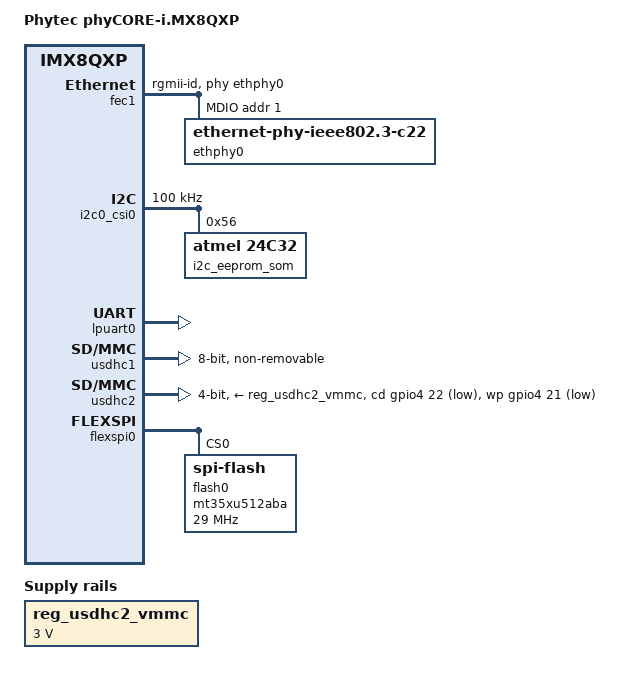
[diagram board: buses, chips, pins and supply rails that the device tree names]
// SPDX-License-Identifier: GPL-2.0+
/*
 * Copyright (C) 2021 PHYTEC America, LLC
 *
 * This program is free software; you can redistribute it and/or modify
 * it under the terms of the GNU General Public License version 2 as
 * published by the Free Software Foundation.
 */

/dts-v1/;

#include "fsl-imx8qxp.dtsi"
#include <dt-bindings/net/ti-dp83867.h>

/ {
	model = "Phytec phyCORE-i.MX8QXP";
	compatible = "phytec,imx8qxp-pcm065", "fsl,imx8qxp";

	aliases {
		i2c9 = &i2c0_csi0;
	};

	chosen {
		bootargs = "console=ttyLP0,115200 earlycon";
		stdout-path = &lpuart0;
	};

	regulators {
		compatible = "simple-bus";
		#address-cells = <1>;
		#size-cells = <0>;

		reg_usdhc2_vmmc: usdhc2_vmmc {
			compatible = "regulator-fixed";
			regulator-name = "SD1_SPWR";
			regulator-min-microvolt = <3000000>;
			regulator-max-microvolt = <3000000>;
	//		gpio = <&gpio4 19 GPIO_ACTIVE_HIGH>;
			enable-active-high;
			off-on-delay-us = <3480>;
		};
	};
};

&fec1 {
	pinctrl-names = "default";
	pinctrl-0 = <&pinctrl_fec1>;
	phy-mode = "rgmii-id";
	phy-handle = <&ethphy0>;
	fsl,magic-packet;
	status = "okay";

	mdio: mdio {
		#address-cells = <1>;
		#size-cells = <0>;

		ethphy0: ethernet-phy@1 {
			compatible = "ethernet-phy-ieee802.3-c22";
			reg = <1>;
			ti,rx-internal-delay = <DP83867_RGMIIDCTL_2_00_NS>;
			ti,tx-internal-delay = <DP83867_RGMIIDCTL_2_00_NS>;
			ti,fifo-depth = <DP83867_PHYCR_FIFO_DEPTH_8_B_NIB>;
			ti,led-0-active-low;
			ti,led-2-active-low;
			enet-phy-lane-no-swap;
		};
	};
};

&i2c0_csi0 {
	#address-cells = <1>;
	#size-cells = <0>;
	clock-frequency = <100000>;
	pinctrl-names = "default";
	pinctrl-0 = <&pinctrl_i2c0_csi0>;
	status = "okay";

	i2c_eeprom_som: eeprom@56 {
		compatible = "atmel,24c32";
		pagesize = <32>;
		reg = <0x56>;
		status = "okay";
	};
};

&iomuxc {
	imx8qxp-pcm065 {

		pinctrl_fec1: fec1grp {
			fsl,pins = <
				SC_P_ENET0_MDC_CONN_ENET0_MDC                   0x06000020
				SC_P_ENET0_MDIO_CONN_ENET0_MDIO                 0x06000020
				SC_P_ENET0_RGMII_TX_CTL_CONN_ENET0_RGMII_TX_CTL 0x06000021
				SC_P_ENET0_RGMII_TXC_CONN_ENET0_RGMII_TXC       0x06000021
				SC_P_ENET0_RGMII_TXD0_CONN_ENET0_RGMII_TXD0     0x06000021
				SC_P_ENET0_RGMII_TXD1_CONN_ENET0_RGMII_TXD1     0x06000021
				SC_P_ENET0_RGMII_TXD2_CONN_ENET0_RGMII_TXD2     0x06000021
				SC_P_ENET0_RGMII_TXD3_CONN_ENET0_RGMII_TXD3     0x06000021
				SC_P_ENET0_RGMII_RXC_CONN_ENET0_RGMII_RXC       0x06000021
				SC_P_ENET0_RGMII_RX_CTL_CONN_ENET0_RGMII_RX_CTL 0x06000021
				SC_P_ENET0_RGMII_RXD0_CONN_ENET0_RGMII_RXD0     0x06000061
				SC_P_ENET0_RGMII_RXD1_CONN_ENET0_RGMII_RXD1     0x06000061
				SC_P_ENET0_RGMII_RXD2_CONN_ENET0_RGMII_RXD2     0x06000061
				SC_P_ENET0_RGMII_RXD3_CONN_ENET0_RGMII_RXD3     0x06000061
			>;
		};

		pinctrl_i2c0_csi0: i2c0csi0grp {
			fsl,pins = <
				SC_P_MIPI_CSI0_I2C0_SCL_MIPI_CSI0_I2C0_SCL 0x06000020
				SC_P_MIPI_CSI0_I2C0_SDA_MIPI_CSI0_I2C0_SDA 0x06000020
			>;
		};

		pinctrl_lpuart0: lpuart0grp {
			fsl,pins = <
				SC_P_UART0_RX_ADMA_UART0_RX	0x06000020
				SC_P_UART0_TX_ADMA_UART0_TX	0x06000020
			>;
		};

		pinctrl_usdhc1: usdhc1grp {
			fsl,pins = <
				SC_P_EMMC0_CLK_CONN_EMMC0_CLK		0x06000041
				SC_P_EMMC0_CMD_CONN_EMMC0_CMD		0x00000021
				SC_P_EMMC0_DATA0_CONN_EMMC0_DATA0	0x00000021
				SC_P_EMMC0_DATA1_CONN_EMMC0_DATA1	0x00000021
				SC_P_EMMC0_DATA2_CONN_EMMC0_DATA2	0x00000021
				SC_P_EMMC0_DATA3_CONN_EMMC0_DATA3	0x00000021
				SC_P_EMMC0_DATA4_CONN_EMMC0_DATA4	0x00000021
				SC_P_EMMC0_DATA5_CONN_EMMC0_DATA5	0x00000021
				SC_P_EMMC0_DATA6_CONN_EMMC0_DATA6	0x00000021
				SC_P_EMMC0_DATA7_CONN_EMMC0_DATA7	0x00000021
				SC_P_EMMC0_STROBE_CONN_EMMC0_STROBE	0x06000041
				SC_P_EMMC0_RESET_B_CONN_EMMC0_RESET_B	0x00000021
			>;
		};

		pinctrl_usdhc2_gpio: usdhc2gpiogrp {
			fsl,pins = <
				SC_P_USDHC1_RESET_B_LSIO_GPIO4_IO19	0x00000021
				SC_P_USDHC1_WP_LSIO_GPIO4_IO21		0x00000021
				SC_P_USDHC1_CD_B_LSIO_GPIO4_IO22	0x00000021
			>;
		};

		pinctrl_usdhc2: usdhc2grp {
			fsl,pins = <
				SC_P_USDHC1_CLK_CONN_USDHC1_CLK		0x06000040
				SC_P_USDHC1_CMD_CONN_USDHC1_CMD		0x00000060
				SC_P_USDHC1_DATA0_CONN_USDHC1_DATA0	0x00000060
				SC_P_USDHC1_DATA1_CONN_USDHC1_DATA1	0x00000060
				SC_P_USDHC1_DATA2_CONN_USDHC1_DATA2	0x00000060
				SC_P_USDHC1_DATA3_CONN_USDHC1_DATA3	0x00000060
				SC_P_USDHC1_VSELECT_CONN_USDHC1_VSELECT	0x00000060
			>;
		};

		pinctrl_flexspi0: flexspi0grp {
			fsl,pins = <
				SC_P_QSPI0A_DATA0_LSIO_QSPI0A_DATA0	0x06000021
				SC_P_QSPI0A_DATA1_LSIO_QSPI0A_DATA1	0x06000021
				SC_P_QSPI0A_DATA2_LSIO_QSPI0A_DATA2	0x06000021
				SC_P_QSPI0A_DATA3_LSIO_QSPI0A_DATA3	0x06000021
				SC_P_QSPI0A_DQS_LSIO_QSPI0A_DQS		0x06000021
				SC_P_QSPI0A_SS0_B_LSIO_QSPI0A_SS0_B	0x06000021
				SC_P_QSPI0A_SS1_B_LSIO_QSPI0A_SS1_B	0x06000021
				SC_P_QSPI0A_SCLK_LSIO_QSPI0A_SCLK	0x06000021

				/*
				 * For QSPI instead of OSPI, comment out the
				 * following lines.
				 */
				SC_P_QSPI0B_SCLK_LSIO_QSPI0B_SCLK	0x06000021
				SC_P_QSPI0B_DATA0_LSIO_QSPI0B_DATA0	0x06000021
				SC_P_QSPI0B_DATA1_LSIO_QSPI0B_DATA1	0x06000021
				SC_P_QSPI0B_DATA2_LSIO_QSPI0B_DATA2	0x06000021
				SC_P_QSPI0B_DATA3_LSIO_QSPI0B_DATA3	0x06000021
				SC_P_QSPI0B_DQS_LSIO_QSPI0B_DQS		0x06000021
				SC_P_QSPI0B_SS0_B_LSIO_QSPI0B_SS0_B	0x06000021
				SC_P_QSPI0B_SS1_B_LSIO_QSPI0B_SS1_B	0x06000021
			>;
		};
	};
};

&A35_0 {
	u-boot,dm-pre-reloc;
};

&lpuart0 {
	pinctrl-names = "default";
	pinctrl-0 = <&pinctrl_lpuart0>;
	status = "okay";
};

&usdhc1 {
	pinctrl-names = "default", "state_100mhz", "state_200mhz";
	pinctrl-0 = <&pinctrl_usdhc1>;
	pinctrl-1 = <&pinctrl_usdhc1>;
	pinctrl-2 = <&pinctrl_usdhc1>;
	bus-width = <8>;
	non-removable;
	status = "okay";
};

&usdhc2 {
	pinctrl-names = "default", "state_100mhz", "state_200mhz";
	pinctrl-0 = <&pinctrl_usdhc2>, <&pinctrl_usdhc2_gpio>;
	pinctrl-1 = <&pinctrl_usdhc2>, <&pinctrl_usdhc2_gpio>;
	pinctrl-2 = <&pinctrl_usdhc2>, <&pinctrl_usdhc2_gpio>;
	bus-width = <4>;
	cd-gpios = <&gpio4 22 GPIO_ACTIVE_LOW>;
	wp-gpios = <&gpio4 21 GPIO_ACTIVE_LOW>;
	vmmc-supply = <&reg_usdhc2_vmmc>;
	status = "okay";
};

&flexspi0 {
	pinctrl-names = "default";
	pinctrl-0 = <&pinctrl_flexspi0>;
	status = "okay";

	flash0: mt35xu512aba@0 {
		reg = <0>;
		#address-cells = <1>;
		#size-cells = <1>;
		compatible = "spi-flash";
		spi-max-frequency = <29000000>;
		spi-nor,ddr-quad-read-dummy = <8>;
	};
};
